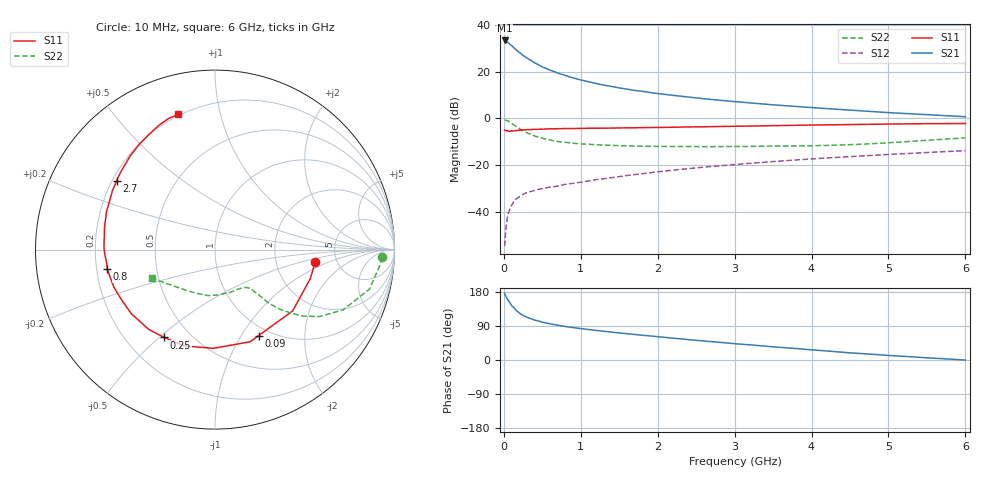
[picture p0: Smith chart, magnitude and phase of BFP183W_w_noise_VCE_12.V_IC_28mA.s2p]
! Infineon Technologies  Discrete & RF Semiconductors
! BFP183W
! VCE =  12. V,  IC =  28 mA
! Common Emitter S-Parameters:  Jan 2017
# GHz  S  MA  R  50
!  f  S11  S21  S12  S22
! GHz  MAG  ANG  MAG  ANG  MAG  ANG  MAG  ANG
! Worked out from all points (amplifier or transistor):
!   77 points, 10 MHz to 6 GHz, reference 50 ohm
!   highest |S21| = 33.2 dB at 10 MHz (marker M1)
!   |S21| within 3 dB of that: start of sweep to 127.1 MHz
!   unconditionally stable (mu >= 1): 1.195 GHz to 3.75 GHz
!   at 130 MHz: K = 0.34, MSG = 32.8 dB, |S12| = -35.4 dB
!   at 2.2 GHz: K = 1.08, MAG = 14.3 dB, |S12| = -22.0 dB
!   at 6 GHz: K = 0.86, MSG = 7.2 dB, |S12| = -13.7 dB
!   lowest NFmin = 1.35 dB at 450 MHz
!   S11 on the Smith chart (normalised r, x): 10 MHz: 3.43, -0.68; 90 MHz: 0.89, -1.19; 250 MHz: 0.36, -0.52; 800 MHz: 0.24, -0.08; 2.7 GHz: 0.22, +0.30; 6 GHz: 0.19, +0.75
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0.01  0.5628 -6.9  45.92 175.7  0.0019 54.1  0.9309 -2.6
0.02  0.5551 -16.9  44.4 170.8  0.0031 77.3  0.9209 -5.8
0.05  0.5514 -38.3  42.09 159.4  0.0085 66.6  0.8885 -14.3
0.09  0.5373 -63.1  36.83 147.4  0.0129 62.5  0.8071 -22.7
0.1  0.5496 -69.2  35.81 143.9  0.014 61.9  0.7898 -25.1
0.15  0.5502 -91.1  30.01 132.9  0.0188 55.7  0.6923 -32.6
0.2  0.5629 -107.7  25.6 124.2  0.0213 51.5  0.6109 -37.3
0.25  0.5652 -120.0  22.01 117.7  0.0243 49.4  0.5456 -40.1
0.3  0.5779 -129.6  19.36 112.7  0.0263 47.0  0.496 -42.4
0.4  0.5872 -142.6  15.36 105.3  0.0294 46.7  0.4228 -44.9
0.5  0.5919 -152.3  12.54 99.9  0.0322 46.0  0.3792 -45.5
0.6  0.6006 -159.4  10.73 95.5  0.0345 46.2  0.3466 -46.1
0.8  0.6098 -169.8  8.237 88.4  0.0395 49.8  0.3103 -47.0
0.9  0.6089 -173.9  7.297 85.6  0.0414 50.1  0.2978 -47.6
1.1  0.6185 179.3  6.059 80.5  0.0467 53.2  0.2838 -49.0
1.5  0.6278 168.7  4.479 71.5  0.0579 55.0  0.2629 -53.9
2.1  0.646 155.7  3.248 59.6  0.076 56.9  0.2532 -64.5
2.7  0.6692 144.9  2.54 48.4  0.0947 56.4  0.2503 -78.5
3.1  0.685 138.4  2.216 41.5  0.1071 55.4  0.2533 -88.0
4.1  0.7266 124.1  1.663 25.3  0.1406 51.0  0.2643 -113.4
5.1  0.7632 113.1  1.305 10.8  0.1742 45.9  0.3102 -139.8
6  0.7812 105.1  1.087 -0.2  0.206 40.2  0.3856 -155.6
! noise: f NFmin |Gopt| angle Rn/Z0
0.45  1.35  0.26  179  0.09
0.9  1.38  0.29  -179  0.1
1.9  1.87  0.44  -157  0.1
2.4  2.12  0.49  -152  0.14
